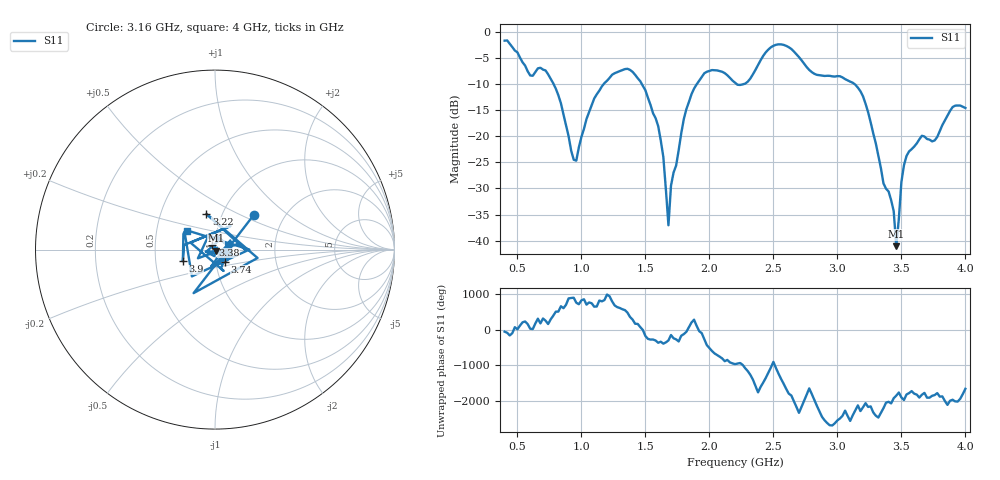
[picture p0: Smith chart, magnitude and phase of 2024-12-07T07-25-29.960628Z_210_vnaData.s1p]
!Created with skrf (http://scikit-rf.org).
# Hz S RI R 50.0
!freq ReS11 ImS11
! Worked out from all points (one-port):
!   181 points, 400 MHz to 4 GHz, reference 50 ohm
!   lowest |S11| = -41.1 dB at 3.46 GHz (marker M1), VSWR 1.02, Z = 50.6 - j0.643 ohm
!   |S11| at or under -10 dB: 782.8 MHz to 1.174 GHz (391.4 MHz wide, 40 % of centre); 1.472 GHz to 1.902 GHz (429.8 MHz wide, 25.5 % of centre); 3.134 GHz to end of sweep (the widest 3 of 4)
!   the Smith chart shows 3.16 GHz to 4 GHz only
!   S11 on the Smith chart (normalised r, x): 3.16 GHz: 1.41, +0.60; 3.22 GHz: 0.84, +0.35; 3.38 GHz: 0.97, +0.05; 3.74 GHz: 1.11, -0.15; 3.9 GHz: 0.69, -0.09; 4 GHz: 0.72, +0.16
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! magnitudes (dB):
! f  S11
! 400 MHz  -1.7
! 720 MHz  -7.4
! 860 MHz  -15.8
! 960 MHz  -24.7
! 1.1 GHz  -12.8
! 1.3 GHz  -7.5
! 1.46 GHz  -9.5
! 1.6 GHz  -18.1
! 1.64 GHz  -23.9
! 1.68 GHz  -37.0
! 1.7 GHz  -29.5
! 1.76 GHz  -22.7
! 1.82 GHz  -14.8
! 1.96 GHz  -7.9
! 2.2 GHz  -9.7
! 2.5 GHz  -2.7
! 2.66 GHz  -3.8
! 3.1 GHz  -9.5
! 3.16 GHz  -10.7
! 3.22 GHz  -13.8
! 3.38 GHz  -30.0
! 3.44 GHz  -34.4
! 3.46 GHz  -41.1
! 3.5 GHz  -28.8
! 3.56 GHz  -22.9
! 3.74 GHz  -21.0
! 3.9 GHz  -14.4
! 4 GHz  -14.6
